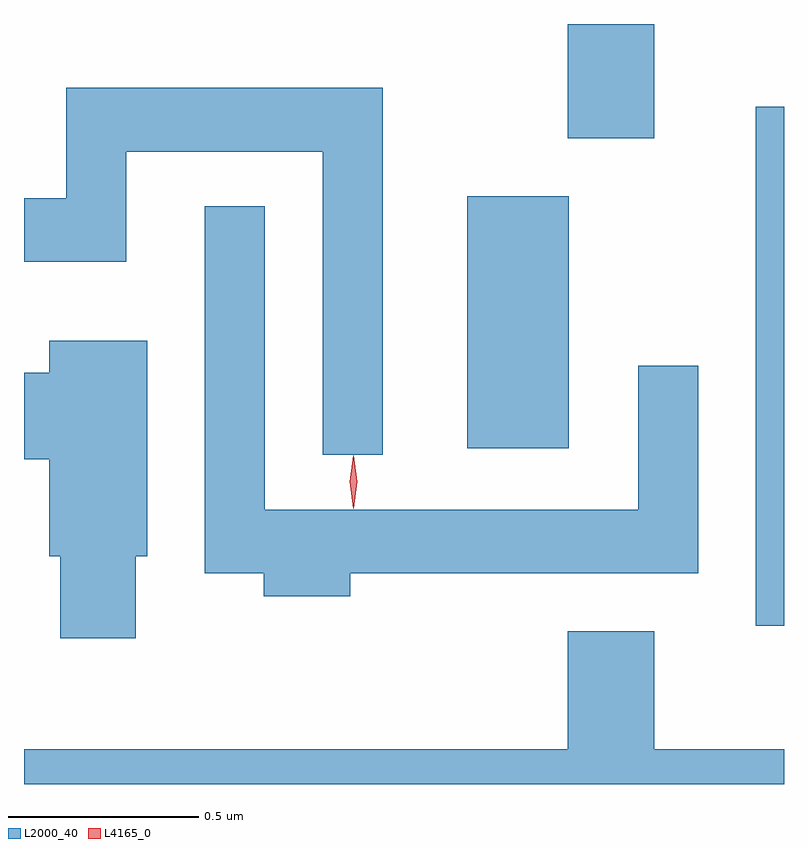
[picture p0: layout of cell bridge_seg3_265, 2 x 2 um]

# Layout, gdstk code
import gdstk
lib = gdstk.Library(unit=1e-6, precision=1e-09)
def R(c, l, rs):  # rectangles x0, y0, x1, y1
    for r in rs: c.add(gdstk.rectangle(r[:2], r[2:], *l))
def P(c, l, *ps):  # polygons
    for p in ps: c.add(gdstk.Polygon(p, *l))
L2000_40 = (2000, 40)
L4165_0 = (4165, 0)

bridge_seg3_265 = lib.new_cell('bridge_seg3_265')
R(bridge_seg3_265, L2000_40, [(1022.246,1126.608,1022.32,1127.974), (1021.486,1127.076,1021.754,1127.739), (1021.751,1127.891,1021.979,1128.192)])
P(bridge_seg3_265, L2000_40, [(1021.264,1128.024),(1020.431,1128.024),(1020.431,1127.734),(1020.32,1127.734),(1020.32,1127.566),(1020.589,1127.566),(1020.589,1127.856),(1021.106,1127.856),(1021.106,1127.058),(1021.264,1127.058)],
  [(1021.179,1126.746),(1022.094,1126.746),(1022.094,1127.293),(1021.936,1127.293),(1021.936,1126.914),(1020.954,1126.914),(1020.954,1127.713),(1020.796,1127.713),(1020.796,1126.746),(1020.951,1126.746),(1020.951,1126.686),(1021.179,1126.686)],
  [(1020.614,1126.791),(1020.644,1126.791),(1020.644,1127.359),(1020.386,1127.359),(1020.386,1127.274),(1020.32,1127.274),(1020.32,1127.046),(1020.386,1127.046),(1020.386,1126.791),(1020.416,1126.791),(1020.416,1126.576),(1020.614,1126.576)],
  [(1022.32,1126.284),(1021.979,1126.284),(1021.979,1126.594),(1021.751,1126.594),(1021.751,1126.284),(1020.32,1126.284),(1020.32,1126.192),(1022.32,1126.192)])
P(bridge_seg3_265, L4165_0, [(1021.187,1126.917),(1021.187,1126.918),(1021.177,1126.987),(1021.187,1127.056),(1021.187,1127.056),(1021.188,1127.056),(1021.197,1126.987),(1021.188,1126.918)])

lib.write_gds('bridge_seg3_265.gds')
